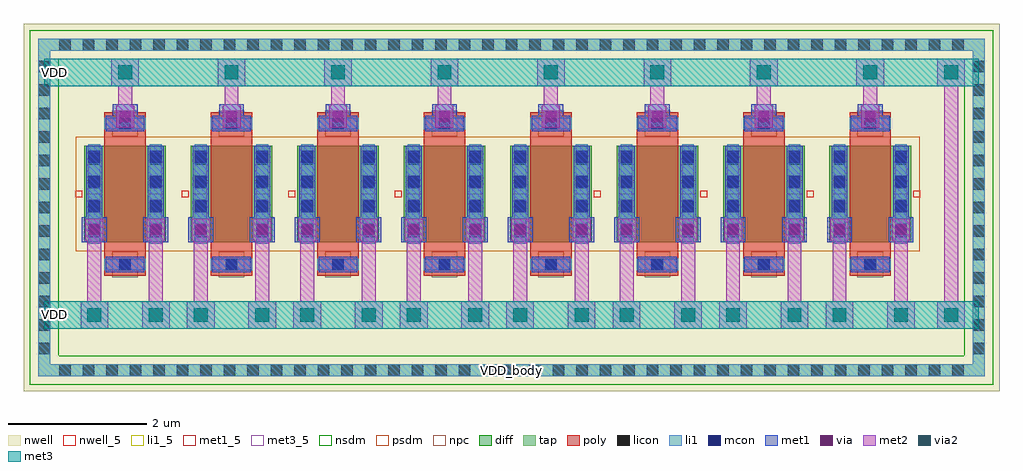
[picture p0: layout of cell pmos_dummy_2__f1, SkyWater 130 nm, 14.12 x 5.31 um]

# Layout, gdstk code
from math import pi, radians
import gdstk
lib = gdstk.Library(unit=1e-6, precision=1e-09)
def R(c, l, rs):  # rectangles x0, y0, x1, y1
    for r in rs: c.add(gdstk.rectangle(r[:2], r[2:], *l))
def A(c, l, x, y, w, h, nx, ny, dx, dy):  # array of equal rectangles
    R(c, l, [(x+i*dx, y+j*dy, x+i*dx+w, y+j*dy+h) for i in range(nx) for j in range(ny)])
nwell_5 = (64, 5)
nwell = (64, 20)
diff = (65, 20)
tap = (65, 44)
poly = (66, 20)
licon = (66, 44)
li1_5 = (67, 5)
li1 = (67, 20)
mcon = (67, 44)
met1_5 = (68, 5)
met1 = (68, 20)
via = (68, 44)
met2 = (69, 20)
via2 = (69, 44)
met3_5 = (70, 5)
met3 = (70, 20)
nsdm = (93, 44)
psdm = (94, 20)
npc = (95, 20)

sky130_fd_pr__pfet_01v8_ = lib.new_cell('sky130_fd_pr__pfet_01v8_RGDEC8')
R(sky130_fd_pr__pfet_01v8_, nwell, [(-0.77,-1.2,0.77,1.2)])
R(sky130_fd_pr__pfet_01v8_, diff, [(-0.59,-0.7,0.59,0.7)])
R(sky130_fd_pr__pfet_01v8_, poly, [(-0.3,-1.185,0.3,1.185)])
A(sky130_fd_pr__pfet_01v8_, licon, -0.53, -0.595, 0.17, 0.17, 1, 4, 0, 0.34)
A(sky130_fd_pr__pfet_01v8_, licon, 0.36, -0.595, 0.17, 0.17, 1, 4, 0, 0.34)
R(sky130_fd_pr__pfet_01v8_, licon, [(-0.085,-1.105,0.085,-0.935), (-0.085,0.935,0.085,1.105)])
R(sky130_fd_pr__pfet_01v8_, li1, [(-0.3,-1.105,0.3,-0.935), (-0.53,-0.72,-0.36,0.72), (0.36,-0.72,0.53,0.72), (-0.3,0.935,0.3,1.105)])
A(sky130_fd_pr__pfet_01v8_, mcon, -0.53, -0.625, 0.17, 0.17, 1, 4, 0, 0.36)
A(sky130_fd_pr__pfet_01v8_, mcon, 0.36, -0.625, 0.17, 0.17, 1, 4, 0, 0.36)
R(sky130_fd_pr__pfet_01v8_, mcon, [(-0.085,-1.105,0.085,-0.935), (-0.085,0.935,0.085,1.105)])
R(sky130_fd_pr__pfet_01v8_, met1, [(-0.28,-1.135,0.28,-0.905), (-0.56,-0.7,-0.33,0.7), (0.33,-0.7,0.56,0.7), (-0.28,0.905,0.28,1.135)])
R(sky130_fd_pr__pfet_01v8_, psdm, [(-0.715,-0.825,0.715,0.825)])
R(sky130_fd_pr__pfet_01v8_, npc, [(-0.185,-1.205,0.185,-0.835), (-0.185,0.835,0.185,1.205)])
sky130_fd_pr__pfet_01v8_.add(gdstk.Label('D', (-0.445,0), layer=67, texttype=5))
sky130_fd_pr__pfet_01v8_.add(gdstk.Label('S', (0.445,0), layer=67, texttype=5))
sky130_fd_pr__pfet_01v8_.add(gdstk.Label('G', (0,1.02), layer=67, texttype=5))

pfet_01v8_w1p4_l0p6_m6__ = lib.new_cell('pfet_01v8_W1p4_L0p6_m6__nf1_gboth_sdfull_ng')
R(pfet_01v8_w1p4_l0p6_m6__, nwell_5, [(0.05,1.15,0.15,1.25)])
R(pfet_01v8_w1p4_l0p6_m6__, nwell, [(0.05,1.15,0.15,1.25)])
R(pfet_01v8_w1p4_l0p6_m6__, met1_5, [(0.21,1.2,0.44,1.4), (1.1,1.2,1.33,1.4), (0.49,2.105,1.05,2.335)])
R(pfet_01v8_w1p4_l0p6_m6__, met1, [(0.21,1.2,0.44,1.4), (1.1,1.2,1.33,1.4), (0.49,2.105,1.05,2.335)])
pfet_01v8_w1p4_l0p6_m6__.add(gdstk.Reference(sky130_fd_pr__pfet_01v8_, (0.77,1.2)))
pfet_01v8_w1p4_l0p6_m6__.add(gdstk.Label('D', (0.325,1.3), layer=68, texttype=5))
pfet_01v8_w1p4_l0p6_m6__.add(gdstk.Label('S', (1.215,1.3), layer=68, texttype=5))
pfet_01v8_w1p4_l0p6_m6__.add(gdstk.Label('G', (0.77,2.22), layer=68, texttype=5))
pfet_01v8_w1p4_l0p6_m6__.add(gdstk.Label('B', (0.1,1.2), layer=64, texttype=5))

pmos_dummy_2__f1 = lib.new_cell('pmos_dummy_2__f1')
R(pmos_dummy_2__f1, nwell, [(-0.7,-1.65,13.42,3.66)])
R(pmos_dummy_2__f1, tap, [(-0.485,-1.435,13.205,-1.265), (-0.485,-1.265,-0.315,3.275), (13.035,-1.265,13.205,3.275), (-0.485,3.275,13.205,3.445)])
A(pmos_dummy_2__f1, licon, -0.185, -1.435, 0.17, 0.17, 39, 2, 0.34, 4.71)
A(pmos_dummy_2__f1, licon, -0.485, -1.12, 0.17, 0.17, 1, 13, 0, 0.34)
A(pmos_dummy_2__f1, licon, 13.035, -1.12, 0.17, 0.17, 1, 13, 0, 0.34)
R(pmos_dummy_2__f1, li1_5, [(6.31,-1.4,6.41,-1.3)])
R(pmos_dummy_2__f1, li1, [(-0.485,-1.435,13.205,-1.265), (-0.485,-1.265,-0.315,3.275), (13.035,-1.265,13.205,3.275), (-0.485,3.275,13.205,3.445)])
A(pmos_dummy_2__f1, met1, 0.59, 2.14, 0.36, 0.36, 8, 1, 1.54, 0)
R(pmos_dummy_2__f1, met1, [(0.145,0.505,0.505,0.865), (1.035,0.505,1.395,0.865), (1.685,0.505,2.045,0.865), (2.575,0.505,2.935,0.865), (3.225,0.505,3.585,0.865), (4.115,0.505,4.475,0.865), (4.765,0.505,5.125,0.865), (5.655,0.505,6.015,0.865), (6.305,0.505,6.665,0.865), (7.195,0.505,7.555,0.865), (7.845,0.505,8.205,0.865), (8.735,0.505,9.095,0.865), (9.385,0.505,9.745,0.865), (10.275,0.505,10.635,0.865), (10.925,0.505,11.285,0.865), (11.815,0.505,12.175,0.865)])
A(pmos_dummy_2__f1, via, 0.695, 2.245, 0.15, 0.15, 8, 1, 1.54, 0)
R(pmos_dummy_2__f1, via, [(0.25,0.61,0.4,0.76), (1.14,0.61,1.29,0.76), (1.79,0.61,1.94,0.76), (2.68,0.61,2.83,0.76), (3.33,0.61,3.48,0.76), (4.22,0.61,4.37,0.76), (4.87,0.61,5.02,0.76), (5.76,0.61,5.91,0.76), (6.41,0.61,6.56,0.76), (7.3,0.61,7.45,0.76), (7.95,0.61,8.1,0.76), (8.84,0.61,8.99,0.76), (9.49,0.61,9.64,0.76), (10.38,0.61,10.53,0.76), (11.03,0.61,11.18,0.76), (11.92,0.61,12.07,0.76)])
A(pmos_dummy_2__f1, met2, 0.64, 2.16, 0.26, 0.32, 8, 1, 1.54, 0)
A(pmos_dummy_2__f1, met2, 0.67, 2.48, 0.2, 0.28, 8, 1, 1.54, 0)
A(pmos_dummy_2__f1, met2, 0.57, 2.76, 0.4, 0.4, 8, 1, 1.54, 0)
R(pmos_dummy_2__f1, met2, [(0.125,-0.75,0.525,-0.35), (1.015,-0.75,1.415,-0.35), (1.665,-0.75,2.065,-0.35), (2.555,-0.75,2.955,-0.35), (3.205,-0.75,3.605,-0.35), (4.095,-0.75,4.495,-0.35), (4.745,-0.75,5.145,-0.35), (5.635,-0.75,6.035,-0.35), (6.285,-0.75,6.685,-0.35), (7.175,-0.75,7.575,-0.35), (7.825,-0.75,8.225,-0.35), (8.715,-0.75,9.115,-0.35), (9.365,-0.75,9.765,-0.35), (10.255,-0.75,10.655,-0.35), (10.905,-0.75,11.305,-0.35), (11.795,-0.75,12.195,-0.35), (12.52,-0.75,12.92,-0.35), (0.225,-0.35,0.425,0.525), (1.115,-0.35,1.315,0.525), (1.765,-0.35,1.965,0.525), (2.655,-0.35,2.855,0.525), (3.305,-0.35,3.505,0.525), (4.195,-0.35,4.395,0.525), (4.845,-0.35,5.045,0.525), (5.735,-0.35,5.935,0.525), (6.385,-0.35,6.585,0.525), (7.275,-0.35,7.475,0.525), (7.925,-0.35,8.125,0.525), (8.815,-0.35,9.015,0.525), (9.465,-0.35,9.665,0.525), (10.355,-0.35,10.555,0.525), (11.005,-0.35,11.205,0.525), (11.895,-0.35,12.095,0.525), (12.62,-0.35,12.82,2.76), (0.195,0.525,0.455,0.845), (1.085,0.525,1.345,0.845), (1.735,0.525,1.995,0.845), (2.625,0.525,2.885,0.845), (3.275,0.525,3.535,0.845), (4.165,0.525,4.425,0.845), (4.815,0.525,5.075,0.845), (5.705,0.525,5.965,0.845), (6.355,0.525,6.615,0.845), (7.245,0.525,7.505,0.845), (7.895,0.525,8.155,0.845), (8.785,0.525,9.045,0.845), (9.435,0.525,9.695,0.845), (10.325,0.525,10.585,0.845), (10.975,0.525,11.235,0.845), (11.865,0.525,12.125,0.845), (12.52,2.76,12.92,3.16)])
A(pmos_dummy_2__f1, via2, 0.67, 2.86, 0.2, 0.2, 8, 1, 1.54, 0)
R(pmos_dummy_2__f1, via2, [(0.225,-0.65,0.425,-0.45), (1.115,-0.65,1.315,-0.45), (1.765,-0.65,1.965,-0.45), (2.655,-0.65,2.855,-0.45), (3.305,-0.65,3.505,-0.45), (4.195,-0.65,4.395,-0.45), (4.845,-0.65,5.045,-0.45), (5.735,-0.65,5.935,-0.45), (6.385,-0.65,6.585,-0.45), (7.275,-0.65,7.475,-0.45), (7.925,-0.65,8.125,-0.45), (8.815,-0.65,9.015,-0.45), (9.465,-0.65,9.665,-0.45), (10.355,-0.65,10.555,-0.45), (11.005,-0.65,11.205,-0.45), (11.895,-0.65,12.095,-0.45), (12.62,-0.65,12.82,-0.45), (12.62,2.86,12.82,3.06)])
R(pmos_dummy_2__f1, met3_5, [(-0.3,-0.6,-0.2,-0.5), (-0.3,2.91,-0.2,3.01)])
R(pmos_dummy_2__f1, met3, [(-0.4,-0.75,13.12,-0.35), (-0.4,2.76,13.12,3.16)])
R(pmos_dummy_2__f1, nsdm, [(-0.61,-1.56,13.33,-1.14), (-0.61,-1.14,-0.19,3.15), (12.91,-1.14,13.33,3.15), (-0.61,3.15,13.33,3.57)])
A(pmos_dummy_2__f1, psdm, 1.485, 0.375, 0.11, 1.65, 7, 1, 1.54, 0)
pmos_dummy_2__f1.add(gdstk.Reference(pfet_01v8_w1p4_l0p6_m6__, (12.32,0), rotation=pi, x_reflection=True))
pmos_dummy_2__f1.add(gdstk.Reference(pfet_01v8_w1p4_l0p6_m6__, (10.78,0), rotation=pi, x_reflection=True))
pmos_dummy_2__f1.add(gdstk.Reference(pfet_01v8_w1p4_l0p6_m6__, (9.24,0), rotation=pi, x_reflection=True))
pmos_dummy_2__f1.add(gdstk.Reference(pfet_01v8_w1p4_l0p6_m6__, (7.7,0), rotation=pi, x_reflection=True))
pmos_dummy_2__f1.add(gdstk.Reference(pfet_01v8_w1p4_l0p6_m6__, (4.62,0)))
pmos_dummy_2__f1.add(gdstk.Reference(pfet_01v8_w1p4_l0p6_m6__, (3.08,0)))
pmos_dummy_2__f1.add(gdstk.Reference(pfet_01v8_w1p4_l0p6_m6__, (1.54,0)))
pmos_dummy_2__f1.add(gdstk.Reference(pfet_01v8_w1p4_l0p6_m6__, (0,0)))
pmos_dummy_2__f1.add(gdstk.Label('VDD', (-0.25,2.96), layer=70, texttype=5))
pmos_dummy_2__f1.add(gdstk.Label('VDD', (-0.25,-0.55), layer=70, texttype=5))
pmos_dummy_2__f1.add(gdstk.Label('VDD_body', (6.36,-1.35), layer=67, texttype=5))

lib.write_gds('pmos_dummy_2__f1.gds')
